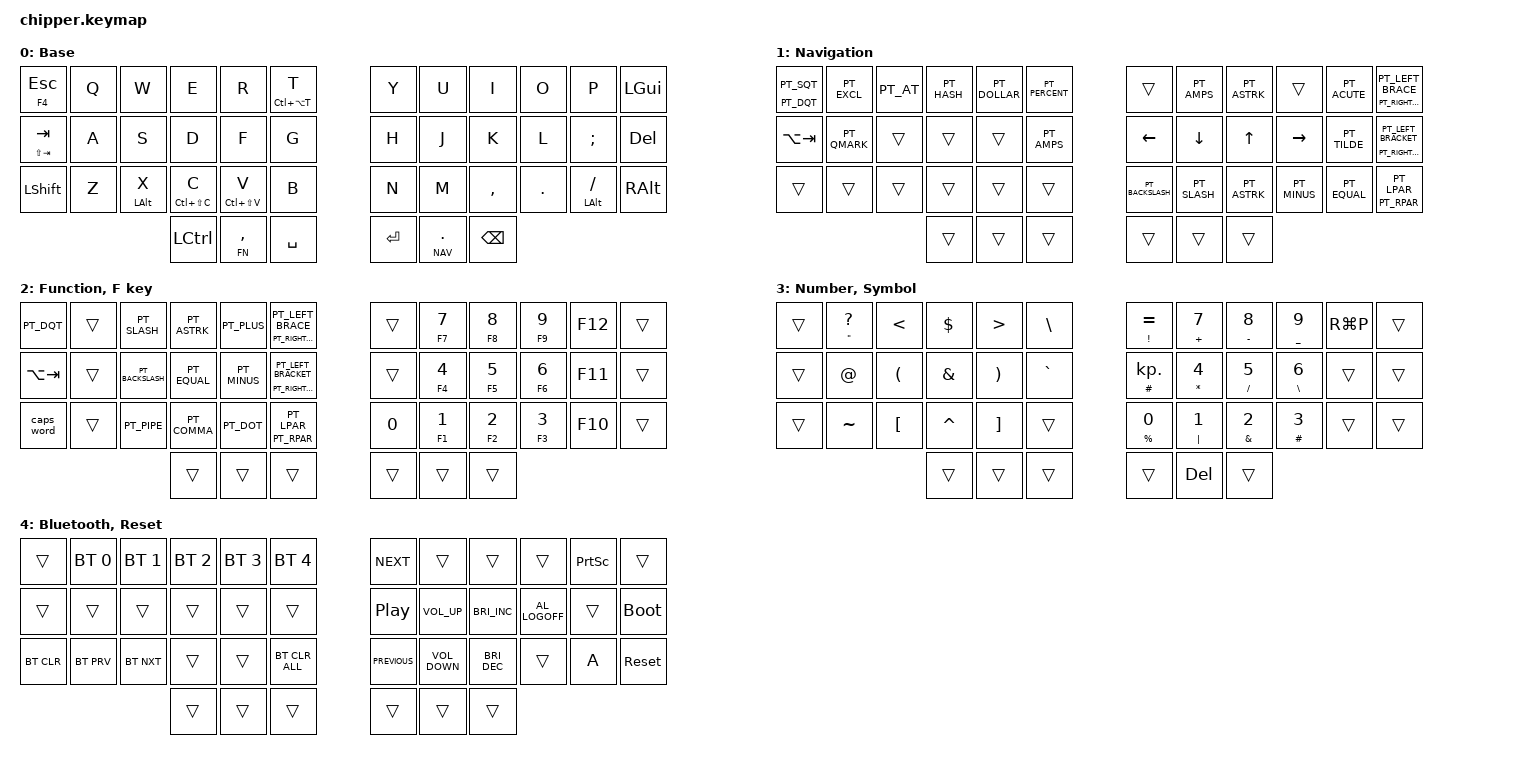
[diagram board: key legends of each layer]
#include <behaviors.dtsi>
#include <dt-bindings/zmk/keys.h>
#include <dt-bindings/zmk/bt.h>
#include <dt-bindings/zmk/outputs.h>
#include "keys_pt_abnt2.h"


#define XXX &none
#define ___ &trans

#define COMBO_TIMEOUT 60

#define DEF 0
#define NAV 1
#define FN 2
#define NUM 3
#define SYS 4

&lt {
    tapping-term-ms = <125>; // This is the value already set by default
};
/ {
    behaviors {
        // Dedicated hold-tap for letter shortcuts (T, C, V) to prevent accidental holds while typing
        alpha_ht: alpha_hold_tap {
            compatible = "zmk,behavior-hold-tap";
            #binding-cells = <2>;
            tapping-term-ms = <280>;
            flavor = "tap-preferred";
            bindings = <&kp>, <&kp>;
            quick-tap-ms = <200>;
        };

    behaviors {
        // Dedicated hold-tap for letter shortcuts (T, C, V) to prevent accidental holds while typing
        alpha_ht: alpha_hold_tap {
            compatible = "zmk,behavior-hold-tap";
            #binding-cells = <2>;
            tapping-term-ms = <280>;
            flavor = "tap-preferred";
            bindings = <&kp>, <&kp>;
            quick-tap-ms = <200>;
        };

        bht: balanced_hold_taps {
            compatible = "zmk,behavior-hold-tap";
            #binding-cells = <2>;
            tapping-term-ms = <250>;
            flavor = "balanced";
            bindings = <&kp>, <&kp>;
            quick-tap-ms = <200>;
            require-prior-idle-ms = <150>;
        };
    };
/ {
    conditional_layers {
        compatible = "zmk,conditional-layers";
        tri_layer {
            if-layers = <1 2>;
            then-layer = <4>;
        };
    };
};

/ {
        keymap {
                compatible = "zmk,keymap";

                DEF_layer {
                        display-name = "Base";
                        bindings = <
&bht F4 ESC     	&kp Q    	&kp W      	&kp E           	&kp R           	&bht LC(LA(T)) T		&kp Y    	&kp U      	&kp I    	&kp O  	&kp P          	&kp LGUI
&bht LS(TAB) TAB	&kp A    	&kp S      	&kp D           	&kp F           	&kp G           		&kp H    	&kp J      	&kp K    	&kp L  	&kp SEMICOLON  	&kp DEL 
&kp LSHIFT      	&kp Z	    &bht LALT X	&bht LC(LS(C)) C	&bht LC(LS(V)) V	&kp B           		&kp N    	&kp M      	&kp COMMA	&kp DOT	&bht LALT SLASH	&kp RALT
                	         	           	&kp LCTRL       	&lt FN COMMA    	&kp SPACE       		&kp ENTER	&lt NAV DOT	&kp BSPC 	       	               	        
                        >;
                };

                

                NAV_layer {
                        display-name = "Navigation";
                        bindings = <
&bht PT_DQT PT_SQT	&kp PT_EXCL 	&kp PT_AT	&kp PT_HASH	&kp PT_DOLLAR	&kp PT_PERCENT		&trans          	&kp PT_AMPS   	&kp PT_ASTRK	&trans         	&kp PT_ACUTE	&bht PT_RIGHT_BRACE PT_LEFT_BRACE    
&kp LA(TAB)       	    &kp PT_QMARK	&trans   	&trans     	&trans       	&kp PT_AMPS   		&kp LEFT_ARROW  	&kp DOWN_ARROW	&kp UP_ARROW	&kp RIGHT_ARROW	&kp PT_TILDE	&bht PT_RIGHT_BRACKET PT_LEFT_BRACKET
&trans         	    &trans      	&trans   	&trans     	&trans       	&trans        		&kp PT_BACKSLASH	&kp PT_SLASH  	&kp PT_ASTRK	&kp PT_MINUS   	&kp PT_EQUAL	&bht PT_RPAR PT_LPAR                 
                  	            	         	&trans     	&trans       	&trans        		&trans          	&trans        	&trans      	               	            	                                     
                        >;

                };

                FN_layer {
                        display-name = "Function, F key";
                        bindings = <
&kp PT_DQT	    &trans	&kp PT_SLASH    	&kp PT_ASTRK	&kp PT_PLUS 	&bht PT_RIGHT_BRACE PT_LEFT_BRACE    		&trans      	&bht F7 NUMBER_7	&bht F8 NUMBER_8	&bht F9 NUMBER_9	&kp F12	&trans
&kp LA(TAB)	    &trans	&kp PT_BACKSLASH	&kp PT_EQUAL	&kp PT_MINUS	&bht PT_RIGHT_BRACKET PT_LEFT_BRACKET		&trans      	&bht F4 NUMBER_4	&bht F5 NUMBER_5	&bht F6 NUMBER_6	&kp F11	&trans
&caps_word	    &trans	&kp PT_PIPE     	&kp PT_COMMA	&kp PT_DOT  	&bht PT_RPAR PT_LPAR                 		&kp NUMBER_0	&bht F1 NUMBER_1	&bht F2 NUMBER_2	&bht F3 NUMBER_3	&kp F10	&trans
      	      	                	    &trans      	&trans      	&trans                               		&trans      	&trans          	&trans          	                	       	      
                        >;
		};
		
		        NUM_layer {
                        display-name = "Number, Symbol";
                        bindings = <
//╭──────╮ ╭─────────────┬─────────────┬─────────────┬─────────────┬─────────────╮ ╭──────────────┬──────────────┬─────────────┬─────────────┬─────────────╮ ╭──────╮
    ___     &bht DQT QMARK &kp LT        &kp DLLR      &kp GT        &kp BSLH       &bht EXCL EQUAL  &bht PLUS N7 &bht MINUS N8 &bht UNDER N9  &kp RG(P)     ___
//├──────┤ ├─────────────┼─────────────┼─────────────┼─────────────┼─────────────┤ ├──────=!──────┼──────7+──────┼─────8-──────┼─────9_──────┼─────────────┤ ├──────┤
    ___     &kp AT         &kp LPAR      &kp AMPS      &kp RPAR      &kp GRAVE      &bht HASH KP_DOT &bht STAR N4 &bht FSLH N5  &bht BSLH N6  ___           ___
//├──────┤ ├─────────────┼─────────────┼─────────────┼─────────────┼─────────────┤ ├──────.#──────┼─────4*───────┼──────5/─────┼──────6\─────┼─────────────┤ ├──────┤
    ___     &kp TILDE      &kp LBKT      &kp CARET     &kp RBKT      ___            &bht PRCNT N0   &bht PIPE N1   &bht AMPS N2  &bht HASH N3  ___           ___
//├──────┤ ╰─────────────┼─────────────┴─────────────┼─────────────┼─────────────┤ ├──────0%──────┼──────1|──────┼─────2&──────┼──────3#──────┼─────────────╯ ╰──────╯
                                         ___           ___           ___             ___           &kp DEL        ___                                    
//                                     ╰─────────────┴─────────────┴─────────────╯ ╰──────────────┴──────────────┼─────────────╯                                     
                        >;
		};

                        		SYS_layer {
                        display-name = "Bluetooth, Reset";
                        bindings = <
&trans    	&bt BT_SEL 0	&bt BT_SEL 1	&bt BT_SEL 2	&bt BT_SEL 3	&bt BT_SEL 4		&kp C_NEXT      	&trans           	&trans              	&trans         	&kp PRINTSCREEN	&trans
&trans    	&trans      	&trans      	&trans      	&trans      	&trans      		&kp C_PLAY_PAUSE	&kp C_VOLUME_UP  	&kp C_BRIGHTNESS_INC	&kp C_AL_LOGOFF	&trans         	&bootloader   
&bt BT_CLR	&bt BT_PRV  	&bt BT_NXT  	&trans      	&trans      	&bt BT_CLR_ALL      &kp C_PREVIOUS  	&kp C_VOLUME_DOWN	&kp C_BRIGHTNESS_DEC	&trans         	&kp A          	&sys_reset    
          	            	            	&trans      	&trans      	&trans      		&trans          	&trans           	&trans              	               	               	              
                       >;
		};

        };
};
